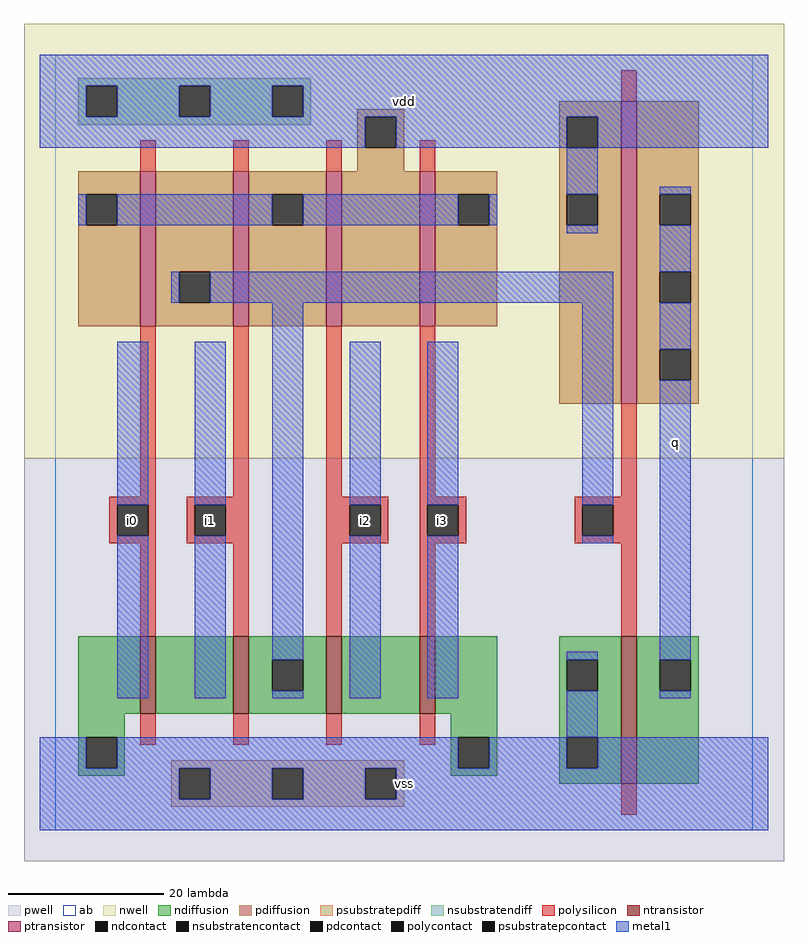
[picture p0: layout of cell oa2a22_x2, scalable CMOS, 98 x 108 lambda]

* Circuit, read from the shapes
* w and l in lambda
.subckt oa2a22_x2 i0 i1 i2 i3 q vdd vss
M1 n1 i0 vss vss nfet w=10 l=2
M2 n2 i1 n1 vss nfet w=10 l=2
M3 n3 i2 n2 vss nfet w=10 l=2
M4 vss i3 n3 vss nfet w=10 l=2
M5 q n2 vss vss nfet w=19 l=2
M6 n2 i0 n4 vdd pfet w=20 l=2
M7 n4 i1 n2 vdd pfet w=20 l=2
M8 vdd i2 n4 vdd pfet w=20 l=2
M9 n4 i3 vdd vdd pfet w=20 l=2
M10 q n2 vdd vdd pfet w=39 l=2
.ends

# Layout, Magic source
magic
tech scmos
<< ab >>
rect 0 0 90 100
<< pwell >>
rect -4 -4 94 48
<< nwell >>
rect -4 48 94 104
<< polysilicon >>
rect 73 94 75 98
rect 11 85 13 89
rect 23 85 25 89
rect 35 85 37 89
rect 47 85 49 89
rect 11 43 13 65
rect 23 43 25 65
rect 7 42 13 43
rect 7 38 8 42
rect 12 38 13 42
rect 7 37 13 38
rect 17 42 25 43
rect 17 38 18 42
rect 22 38 25 42
rect 17 37 25 38
rect 11 25 13 37
rect 23 25 25 37
rect 35 43 37 65
rect 47 43 49 65
rect 73 43 75 55
rect 35 42 43 43
rect 35 38 38 42
rect 42 38 43 42
rect 35 37 43 38
rect 47 42 53 43
rect 47 38 48 42
rect 52 38 53 42
rect 47 37 53 38
rect 67 42 75 43
rect 67 38 68 42
rect 72 38 75 42
rect 67 37 75 38
rect 35 25 37 37
rect 47 25 49 37
rect 73 25 75 37
rect 11 11 13 15
rect 23 11 25 15
rect 35 11 37 15
rect 47 11 49 15
rect 73 2 75 6
<< ndiffusion >>
rect 3 15 11 25
rect 13 15 23 25
rect 25 22 35 25
rect 25 18 28 22
rect 32 18 35 22
rect 25 15 35 18
rect 37 15 47 25
rect 49 15 57 25
rect 3 12 9 15
rect 3 8 4 12
rect 8 8 9 12
rect 51 12 57 15
rect 3 7 9 8
rect 51 8 52 12
rect 56 8 57 12
rect 51 7 57 8
rect 65 22 73 25
rect 65 18 66 22
rect 70 18 73 22
rect 65 12 73 18
rect 65 8 66 12
rect 70 8 73 12
rect 65 6 73 8
rect 75 22 83 25
rect 75 18 78 22
rect 82 18 83 22
rect 75 6 83 18
<< pdiffusion >>
rect 39 92 45 93
rect 39 88 40 92
rect 44 88 45 92
rect 65 92 73 94
rect 39 85 45 88
rect 65 88 66 92
rect 70 88 73 92
rect 3 82 11 85
rect 3 78 4 82
rect 8 78 11 82
rect 3 65 11 78
rect 13 72 23 85
rect 13 68 16 72
rect 20 68 23 72
rect 13 65 23 68
rect 25 82 35 85
rect 25 78 28 82
rect 32 78 35 82
rect 25 65 35 78
rect 37 65 47 85
rect 49 82 57 85
rect 49 78 52 82
rect 56 78 57 82
rect 49 65 57 78
rect 65 82 73 88
rect 65 78 66 82
rect 70 78 73 82
rect 65 55 73 78
rect 75 82 83 94
rect 75 78 78 82
rect 82 78 83 82
rect 75 72 83 78
rect 75 68 78 72
rect 82 68 83 72
rect 75 62 83 68
rect 75 58 78 62
rect 82 58 83 62
rect 75 55 83 58
<< metal1 >>
rect -2 96 92 100
rect -2 92 4 96
rect 8 92 16 96
rect 20 92 28 96
rect 32 92 92 96
rect -2 88 40 92
rect 44 88 66 92
rect 70 88 92 92
rect 66 82 70 88
rect 3 78 4 82
rect 8 78 28 82
rect 32 78 52 82
rect 56 78 57 82
rect 66 77 70 78
rect 78 82 82 83
rect 78 72 82 78
rect 15 68 16 72
rect 20 68 72 72
rect 8 42 12 63
rect 8 17 12 38
rect 18 42 22 63
rect 18 17 22 38
rect 28 22 32 68
rect 28 17 32 18
rect 38 42 42 63
rect 38 17 42 38
rect 48 42 52 63
rect 48 17 52 38
rect 68 42 72 68
rect 68 37 72 38
rect 78 62 82 68
rect 66 22 70 23
rect 66 12 70 18
rect 78 22 82 58
rect 78 17 82 18
rect -2 8 4 12
rect 8 8 52 12
rect 56 8 66 12
rect 70 8 92 12
rect -2 4 16 8
rect 20 4 28 8
rect 32 4 40 8
rect 44 4 92 8
rect -2 0 92 4
<< ntransistor >>
rect 11 15 13 25
rect 23 15 25 25
rect 35 15 37 25
rect 47 15 49 25
rect 73 6 75 25
<< ptransistor >>
rect 11 65 13 85
rect 23 65 25 85
rect 35 65 37 85
rect 47 65 49 85
rect 73 55 75 94
<< polycontact >>
rect 8 38 12 42
rect 18 38 22 42
rect 38 38 42 42
rect 48 38 52 42
rect 68 38 72 42
<< ndcontact >>
rect 28 18 32 22
rect 4 8 8 12
rect 52 8 56 12
rect 66 18 70 22
rect 66 8 70 12
rect 78 18 82 22
<< pdcontact >>
rect 40 88 44 92
rect 66 88 70 92
rect 4 78 8 82
rect 16 68 20 72
rect 28 78 32 82
rect 52 78 56 82
rect 66 78 70 82
rect 78 78 82 82
rect 78 68 82 72
rect 78 58 82 62
<< psubstratepcontact >>
rect 16 4 20 8
rect 28 4 32 8
rect 40 4 44 8
<< nsubstratencontact >>
rect 4 92 8 96
rect 16 92 20 96
rect 28 92 32 96
<< psubstratepdiff >>
rect 15 8 45 9
rect 15 4 16 8
rect 20 4 28 8
rect 32 4 40 8
rect 44 4 45 8
rect 15 3 45 4
<< nsubstratendiff >>
rect 3 96 33 97
rect 3 92 4 96
rect 8 92 16 96
rect 20 92 28 96
rect 32 92 33 96
rect 3 91 33 92
<< labels >>
rlabel polycontact 10 40 10 40 6 i0
rlabel polycontact 20 40 20 40 6 i1
rlabel polycontact 40 40 40 40 6 i2
rlabel metal1 45 6 45 6 6 vss
rlabel polycontact 50 40 50 40 6 i3
rlabel metal1 45 94 45 94 6 vdd
rlabel metal1 80 50 80 50 6 q
<< end >>
